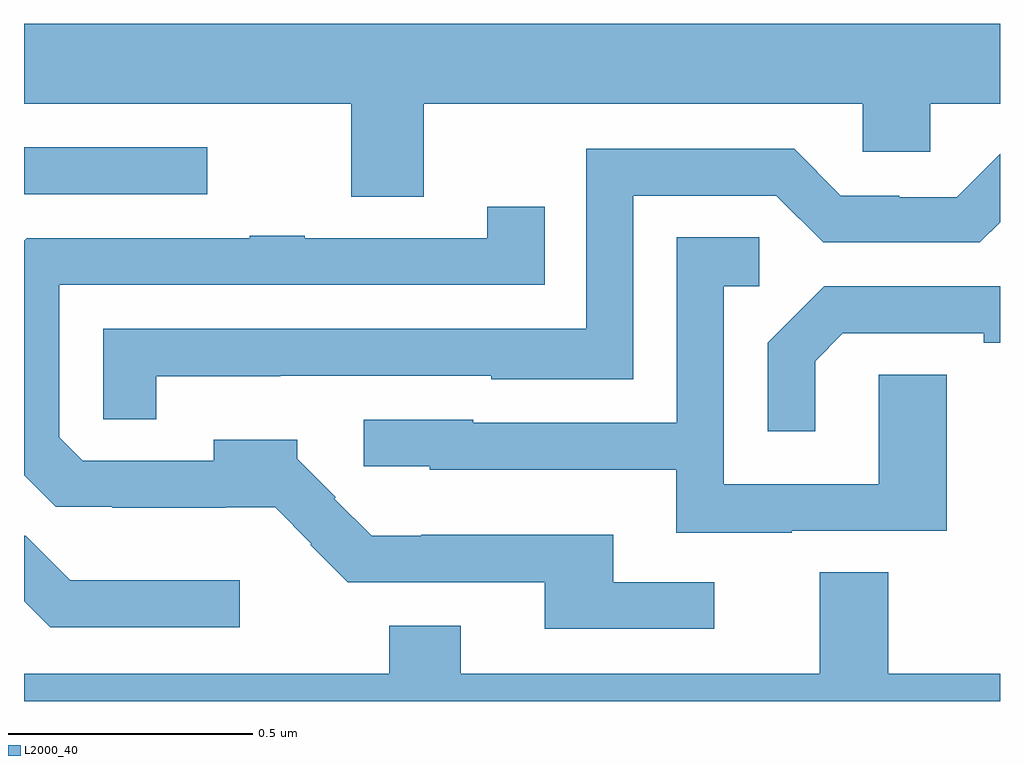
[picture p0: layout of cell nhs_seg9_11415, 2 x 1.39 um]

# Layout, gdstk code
import gdstk
lib = gdstk.Library(unit=1e-6, precision=1e-09)
def R(c, l, rs):  # rectangles x0, y0, x1, y1
    for r in rs: c.add(gdstk.rectangle(r[:2], r[2:], *l))
def P(c, l, *ps):  # polygons
    for p in ps: c.add(gdstk.Polygon(p, *l))
L2000_40 = (2000, 40)

nhs_seg9_11415 = lib.new_cell('nhs_seg9_11415')
R(nhs_seg9_11415, L2000_40, [(255,1225.539,255.376,1225.635)])
P(nhs_seg9_11415, L2000_40, [(255.819,1225.724),(256.719,1225.724),(256.719,1225.626),(256.857,1225.626),(256.857,1225.724),(257,1225.724),(257,1225.888),(255,1225.888),(255,1225.724),(255.671,1225.724),(255.671,1225.534),(255.819,1225.534)],
  [(255.271,1225.166),(255.525,1225.166),(255.525,1225.167),(255.957,1225.167),(255.957,1225.16),(256.248,1225.16),(256.248,1225.536),(256.542,1225.536),(256.638,1225.44),(256.959,1225.44),(257,1225.481),(257,1225.622),(256.911,1225.533),(256.794,1225.533),(256.794,1225.536),(256.674,1225.536),(256.578,1225.632),(256.152,1225.632),(256.152,1225.263),(255.162,1225.263),(255.162,1225.078),(255.271,1225.078)],
  [(256.414,1224.744),(256.207,1224.744),(256.207,1224.841),(255.814,1224.841),(255.814,1224.839),(255.713,1224.839),(255.636,1224.915),(255.639,1224.918),(255.56,1224.997),(255.56,1225.036),(255.389,1225.036),(255.389,1224.993),(255.12,1224.993),(255.072,1225.041),(255.072,1225.353),(256.067,1225.353),(256.067,1225.513),(255.949,1225.513),(255.949,1225.449),(255.575,1225.449),(255.575,1225.454),(255.463,1225.454),(255.463,1225.449),(255.006,1225.449),(255,1225.443),(255,1224.963),(255.065,1224.898),(255.181,1224.898),(255.181,1224.896),(255.413,1224.896),(255.413,1224.897),(255.515,1224.897),(255.589,1224.823),(255.587,1224.821),(255.663,1224.744),(256.067,1224.744),(256.067,1224.648),(256.414,1224.648)],
  [(256.573,1224.849),(256.891,1224.849),(256.891,1225.169),(256.752,1225.169),(256.752,1224.945),(256.434,1224.945),(256.434,1225.35),(256.507,1225.35),(256.507,1225.451),(256.338,1225.451),(256.338,1225.071),(255.921,1225.071),(255.921,1225.077),(255.696,1225.077),(255.696,1224.981),(255.831,1224.981),(255.831,1224.974),(256.337,1224.974),(256.337,1224.845),(256.573,1224.845)],
  [(256.621,1225.197),(256.678,1225.254),(256.967,1225.254),(256.967,1225.234),(257,1225.234),(257,1225.35),(256.64,1225.35),(256.524,1225.234),(256.524,1225.053),(256.621,1225.053)],
  [(255.442,1224.748),(255.095,1224.748),(255.004,1224.839),(255,1224.839),(255,1224.705),(255.054,1224.651),(255.442,1224.651)],
  [(255.895,1224.655),(255.748,1224.655),(255.748,1224.556),(255,1224.556),(255,1224.5),(257,1224.5),(257,1224.556),(256.771,1224.556),(256.771,1224.764),(256.631,1224.764),(256.631,1224.556),(255.895,1224.556)])

lib.write_gds('nhs_seg9_11415.gds')
